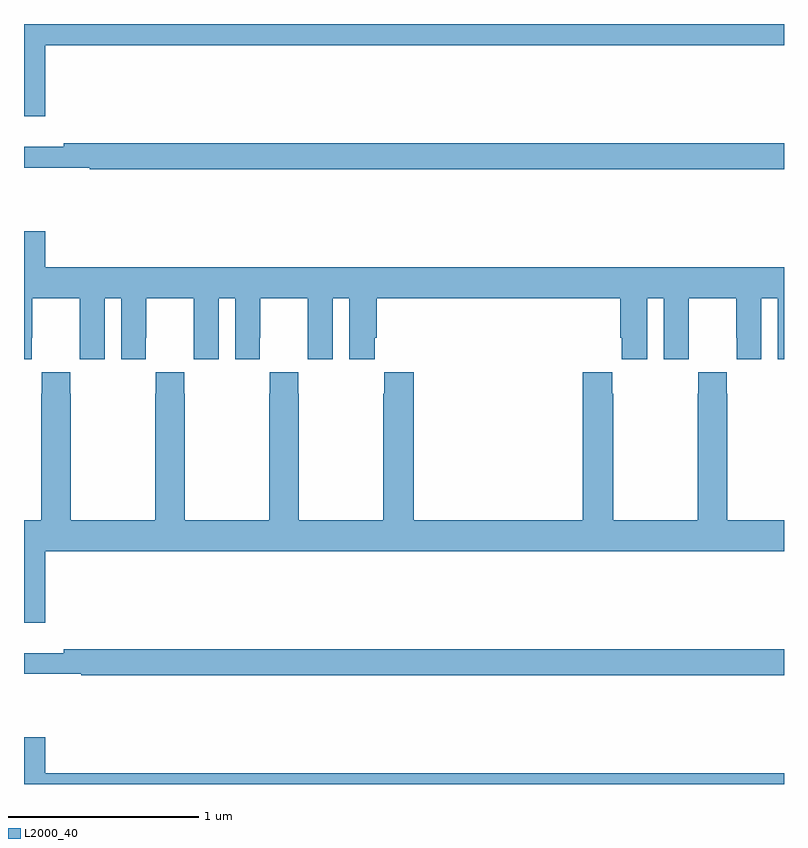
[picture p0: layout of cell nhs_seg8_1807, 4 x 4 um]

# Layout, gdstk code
import gdstk
lib = gdstk.Library(unit=1e-6, precision=1e-09)
def P(c, l, *ps):  # polygons
    for p in ps: c.add(gdstk.Polygon(p, *l))
L2000_40 = (2000, 40)

nhs_seg8_1807 = lib.new_cell('nhs_seg8_1807')
P(nhs_seg8_1807, L2000_40, [(225.112,1161.788),(229,1161.788),(229,1161.9),(225,1161.9),(225,1161.414),(225.112,1161.414)],
  [(229,1161.272),(225.208,1161.272),(225.208,1161.253),(225,1161.253),(225,1161.144),(225.345,1161.144),(225.345,1161.136),(229,1161.136)],
  [(225,1160.136),(225.042,1160.136),(225.042,1160.248),(225.043,1160.248),(225.043,1160.456),(225.293,1160.456),(225.293,1160.248),(225.294,1160.248),(225.294,1160.136),(225.424,1160.136),(225.424,1160.456),(225.512,1160.456),(225.512,1160.136),(225.642,1160.136),(225.642,1160.248),(225.643,1160.248),(225.643,1160.456),(225.893,1160.456),(225.893,1160.248),(225.894,1160.248),(225.894,1160.136),(226.024,1160.136),(226.024,1160.456),(226.112,1160.456),(226.112,1160.136),(226.242,1160.136),(226.242,1160.248),(226.243,1160.248),(226.243,1160.456),(226.493,1160.456),(226.493,1160.248),(226.494,1160.248),(226.494,1160.136),(226.624,1160.136),(226.624,1160.456),(226.712,1160.456),(226.712,1160.136),(226.846,1160.136),(226.846,1160.248),(226.856,1160.248),(226.856,1160.456),(228.137,1160.456),(228.137,1160.248),(228.146,1160.248),(228.146,1160.136),(228.28,1160.136),(228.28,1160.456),(228.368,1160.456),(228.368,1160.136),(228.498,1160.136),(228.498,1160.248),(228.499,1160.248),(228.499,1160.456),(228.749,1160.456),(228.749,1160.248),(228.75,1160.248),(228.75,1160.136),(228.88,1160.136),(228.88,1160.456),(228.968,1160.456),(228.968,1160.136),(229,1160.136),(229,1160.62),(225.112,1160.62),(225.112,1160.809),(225,1160.809)],
  [(225.112,1159.124),(229,1159.124),(229,1159.288),(228.702,1159.288),(228.702,1159.955),(228.699,1159.955),(228.699,1160.068),(228.549,1160.068),(228.549,1159.955),(228.547,1159.955),(228.547,1159.288),(228.102,1159.288),(228.102,1159.955),(228.095,1159.955),(228.095,1160.068),(227.942,1160.068),(227.942,1159.288),(227.051,1159.288),(227.051,1160.068),(226.897,1160.068),(226.897,1159.955),(226.891,1159.955),(226.891,1159.288),(226.446,1159.288),(226.446,1159.955),(226.443,1159.955),(226.443,1160.068),(226.293,1160.068),(226.293,1159.955),(226.291,1159.955),(226.291,1159.288),(225.846,1159.288),(225.846,1159.955),(225.843,1159.955),(225.843,1160.068),(225.693,1160.068),(225.693,1159.955),(225.691,1159.955),(225.691,1159.288),(225.246,1159.288),(225.246,1159.955),(225.243,1159.955),(225.243,1160.068),(225.093,1160.068),(225.093,1159.955),(225.091,1159.955),(225.091,1159.288),(225,1159.288),(225,1158.75),(225.112,1158.75)],
  [(229,1158.608),(225.208,1158.608),(225.208,1158.589),(225,1158.589),(225,1158.48),(225.302,1158.48),(225.302,1158.472),(229,1158.472)],
  [(229,1157.956),(225.112,1157.956),(225.112,1158.145),(225,1158.145),(225,1157.9),(229,1157.9)])

lib.write_gds('nhs_seg8_1807.gds')
